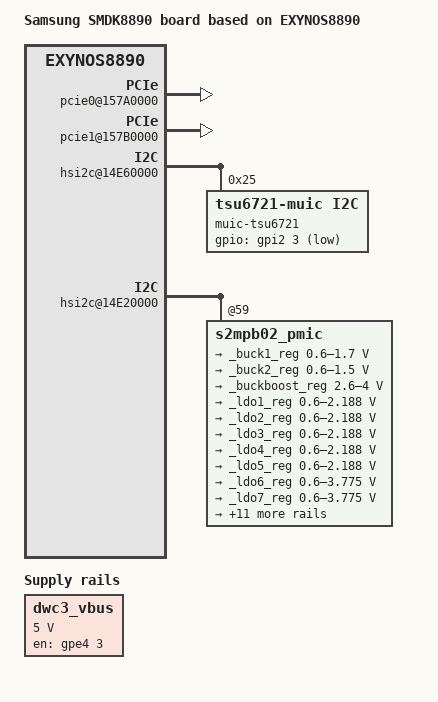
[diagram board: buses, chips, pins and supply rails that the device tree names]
/*
 * SAMSUNG EXYNOS8890 board device tree source
 *
 * Copyright (c) 2013 Samsung Electronics Co., Ltd.
 *		http://www.samsung.com
 *
 * This program is free software; you can redistribute it and/or modify
 * it under the terms of the GNU General Public License version 2 as
 * published by the Free Software Foundation.
*/

/dts-v1/;
#include "exynos8890-board-common.dtsi"
#include "exynos8890-display-lcd.dtsi"

/ {
	model = "Samsung SMDK8890 board based on EXYNOS8890";
	compatible = "samsung,exynos8890", "samsung,SMDK8890";

	ect {
		parameter_address = <0x90000000>;
		parameter_size = <0x19000>;
	};

	pinctrl@10580000 {
		muic_irq: muic-irq {
			samsung,pins = "gpa1-1";
			samsung,pin-function = <0x0>;
			samsung,pin-pud = <0>;
			samsung,pin-drv = <0>;
		};
	};

	pinctrl@14CC0000 {
		dwc3_vbus_en: dwc3-vbus-en {
		    samsung,pins ="gpe4-3";
		    samsung,pin-function = <1>;
		    samsung,pin-pud = <0>;
		    samsung,pin-drv = <0>;
	    };
	};

	pcie0@157A0000 {
		pcie,wlan-gpio = <&gpj1 3 0x1 /* WLAN_EN */ >;
		pcie,bt-gpio = <&gpe7 1 0x1 /* BT_EN */ >;
		status = "okay";
	};

	pcie1@157B0000 {
		pcie,wlan-gpio = <&gpf1 2 0x1 /* WLAN_EN */ >;
		pcie,bt-gpio = <&gpe7 2 0x1 /* BT_EN */ >;
		status = "okay";
	};

	hsi2c@14E60000 {
		status = "okay";
		muic-tsu6721@25 {
			compatible = "tsu6721-muic,i2c";
			reg = <0x25>;
			pinctrl-names = "default";
			pinctrl-0 = <&muic_irq>;
			muic,muic_int = <&gpa1 1 0>;
			gpios = <&gpi2 3 0x1>;
		};
	};

	dwc3_vbus: regulator-usb300 {
		compatible = "regulator-fixed";
		regulator-name = "UHOST_VBUS_EN";
		regulator-min-microvolt = <5000000>;
		regulator-max-microvolt = <5000000>;
		gpio = <&gpe4 3 1>;
		pinctrl-names = "default";
		pinctrl-0 = <&dwc3_vbus_en>;
		enable-active-high;
	};

	usb@15400000 {
		dwc3-vbus-supply = <&dwc3_vbus>;
	};

	decon_f: decon_f@0x13960000 {
		/* EINT for TE */
		gpios = <&gpe2 6 0xf>, <&gpe3 1 0xf>;
		te_eint {
			/* NWEINT_GPE2_PEND(GPE2_6[6]), NWEINT_GPE2_MASK(GPE2_6[6]) */
			reg = <0x0 0x14CC0A14 0x4>, <0x0 0x14CC0914 0x4>;
		};
	};

	decon_s: decon_s@0x13E10000 {
		/* EINT for TE */
		gpios = <&gpe3 1 0xf>;
	};

	dsim_0: dsim@0x13900000 {
		lcd_info = <&s6e3ha2k>;
		/* lcd reset, power */
		gpios = <&gpe2 5 0x1>, <&gpe3 2 0x1>;
	};

	dsim_1: dsim@0x13910000 {
		lcd_info = <&s6e3ha2k>;
		/* lcd reset, power */
		gpios = <&gpe3 0 0x1>;
	};

	hsi2c@14E20000 {
		status = "okay";

		s2mpb02_pmic@59 {
			regulators {
				_buck1_reg: s2mpb02-buck1 {
					regulator-min-microvolt = <600000>;
					regulator-max-microvolt = <1700000>;
					regulator-always-on;
					regulator-boot-on;
				};

				_buck2_reg: s2mpb02-buck2 {
					regulator-name = "VDD12_CAMCORE";
					regulator-min-microvolt = <600000>;
					regulator-max-microvolt = <1500000>;
				};

				_buckboost_reg: s2mpb02-bb {
					regulator-min-microvolt = <2600000>;
					regulator-max-microvolt = <4000000>;
					regulator-always-on;
					regulator-boot-on;
				};

				_ldo1_reg: s2mpb02-ldo1 {
					regulator-min-microvolt = <600000>;
					regulator-max-microvolt = <2187500>;
					regulator-always-on;
					regulator-boot-on;
				};

				_ldo2_reg: s2mpb02-ldo2 {
					regulator-min-microvolt = <600000>;
					regulator-max-microvolt = <2187500>;
					regulator-always-on;
					regulator-boot-on;
				};

				_ldo3_reg: s2mpb02-ldo3 {
					regulator-min-microvolt = <600000>;
					regulator-max-microvolt = <2187500>;
					regulator-always-on;
					regulator-boot-on;
				};

				_ldo4_reg: s2mpb02-ldo4 {
					regulator-min-microvolt = <600000>;
					regulator-max-microvolt = <2187500>;
					regulator-always-on;
					regulator-boot-on;
				};

				_ldo5_reg: s2mpb02-ldo5 {
					regulator-min-microvolt = <600000>;
					regulator-max-microvolt = <2187500>;
					regulator-always-on;
					regulator-boot-on;
				};

				_ldo6_reg: s2mpb02-ldo6 {
					regulator-min-microvolt = <600000>;
					regulator-max-microvolt = <3775000>;
					regulator-always-on;
					regulator-boot-on;
				};

				_ldo7_reg: s2mpb02-ldo7 {
					regulator-min-microvolt = <600000>;
					regulator-max-microvolt = <3775000>;
					regulator-always-on;
					regulator-boot-on;
				};

				_ldo8_reg: s2mpb02-ldo8 {
					regulator-name = "VDD18_CAMIO";
					regulator-min-microvolt = <1800000>;
					regulator-max-microvolt = <1800000>;
				};

				_ldo9_reg: s2mpb02-ldo9 {
					regulator-name = "VDD18_VTCAMIO";
					regulator-min-microvolt = <1800000>;
					regulator-max-microvolt = <1800000>;
				};

				_ldo10_reg: s2mpb02-ldo10 {
					regulator-min-microvolt = <600000>;
					regulator-max-microvolt = <3775000>;
					regulator-always-on;
					regulator-boot-on;
				};

				_ldo11_reg: s2mpb02-ldo11 {
					regulator-min-microvolt = <2800000>;
					regulator-max-microvolt = <2800000>;
				};

				_ldo12_reg: s2mpb02-ldo12 {
					regulator-name = "VDD28_CAMAF";
					regulator-min-microvolt = <1800000>;
					regulator-max-microvolt = <3375000>;
				};

				_ldo13_reg: s2mpb02-ldo13 {
					regulator-name = "VDDA30_VTCAMSEN";
					regulator-min-microvolt = <2800000>;
					regulator-max-microvolt = <3775000>;
				};

				_ldo14_reg: s2mpb02-ldo14 {
					regulator-name = "VDDA28_CAMSEN";
					regulator-min-microvolt = <2800000>;
					regulator-max-microvolt = <2800000>;
				};

				_ldo15_reg: s2mpb02-ldo15 {
					regulator-min-microvolt = <600000>;
					regulator-max-microvolt = <3775000>;
					regulator-always-on;
					regulator-boot-on;
				};

				_ldo16_reg: s2mpb02-ldo16 {
					regulator-min-microvolt = <600000>;
					regulator-max-microvolt = <3775000>;
					regulator-always-on;
					regulator-boot-on;
				};

				_ldo17_reg: s2mpb02-ldo17 {
					regulator-min-microvolt = <600000>;
					regulator-max-microvolt = <3775000>;
					regulator-always-on;
					regulator-boot-on;
				};

				_ldo18_reg: s2mpb02-ldo18 {
					regulator-min-microvolt = <600000>;
					regulator-max-microvolt = <3775000>;
					regulator-always-on;
					regulator-boot-on;
				};
			};
		};
	};
};
